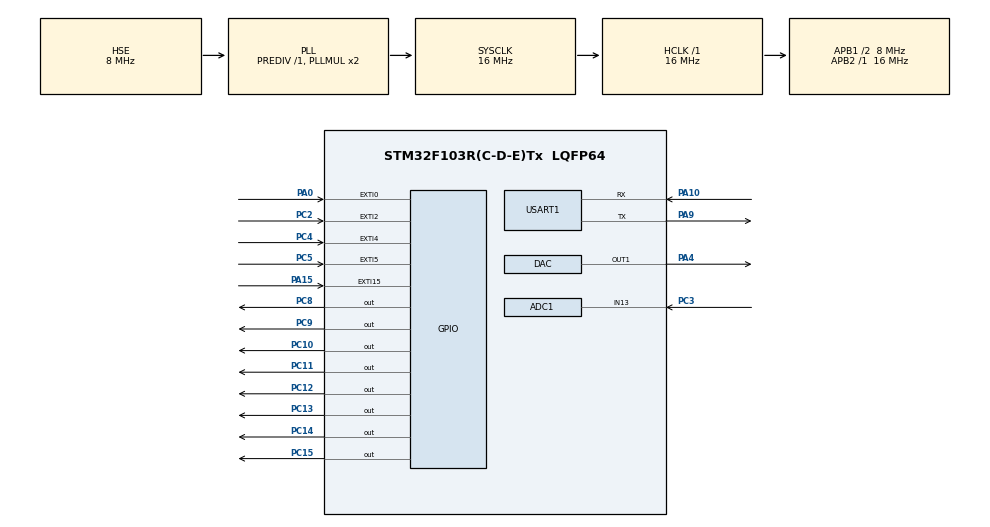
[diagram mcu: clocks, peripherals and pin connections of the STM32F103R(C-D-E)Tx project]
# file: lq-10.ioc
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ADC1.Channel-1\#ChannelRegularConversion=ADC_CHANNEL_13
ADC1.ContinuousConvMode=ENABLE
ADC1.NbrOfConversionFlag=1
ADC1.Rank-1\#ChannelRegularConversion=1
ADC1.SamplingTime-1\#ChannelRegularConversion=ADC_SAMPLETIME_1CYCLE_5
ADC1.master=1
Dma.ADC1.0.Direction=DMA_PERIPH_TO_MEMORY
Dma.ADC1.0.Instance=DMA1_Channel1
Dma.ADC1.0.MemDataAlignment=DMA_MDATAALIGN_HALFWORD
Dma.ADC1.0.MemInc=DMA_MINC_ENABLE
Dma.ADC1.0.Mode=DMA_NORMAL
Dma.ADC1.0.PeriphDataAlignment=DMA_PDATAALIGN_HALFWORD
Dma.ADC1.0.PeriphInc=DMA_PINC_DISABLE
Dma.ADC1.0.Priority=DMA_PRIORITY_LOW
Dma.Request0=ADC1
Mcu.Family=STM32F1
Mcu.Name=STM32F103R(C-D-E)Tx
Mcu.Package=LQFP64
NVIC.ADC1_2_IRQn=true\:2\:0\:true\:false\:true\:true\:true\:true
NVIC.DMA1_Channel1_IRQn=true\:0\:0\:false\:false\:true\:false\:true\:true
NVIC.EXTI0_IRQn=true\:3\:0\:true\:false\:true\:true\:true\:true
NVIC.EXTI15_10_IRQn=true\:3\:0\:true\:false\:true\:true\:true\:true
NVIC.EXTI2_IRQn=true\:3\:0\:true\:false\:true\:true\:true\:true
NVIC.EXTI4_IRQn=true\:1\:0\:true\:false\:true\:true\:true\:true
NVIC.EXTI9_5_IRQn=true\:3\:0\:true\:false\:true\:true\:true\:true
NVIC.PriorityGroup=NVIC_PRIORITYGROUP_4
NVIC.TIM3_IRQn=true\:2\:0\:true\:false\:true\:true\:true\:true
NVIC.USART1_IRQn=true\:0\:0\:false\:false\:true\:true\:true\:true
PA0-WKUP.GPIO_PuPd=GPIO_PULLDOWN
PA0-WKUP.Signal=GPXTI0
PA10.Mode=Asynchronous
PA10.Signal=USART1_RX
PA13.Mode=Serial_Wire
PA13.Signal=SYS_JTMS-SWDIO
PA14.Mode=Serial_Wire
PA14.Signal=SYS_JTCK-SWCLK
PA15.GPIO_ModeDefaultEXTI=GPIO_MODE_IT_FALLING
PA15.GPIO_PuPd=GPIO_PULLUP
PA15.Signal=GPXTI15
PA4.Signal=COMP_DAC1_group
PA9.Mode=Asynchronous
PA9.Signal=USART1_TX
PC10.GPIO_ModeDefaultOutputPP=GPIO_MODE_OUTPUT_PP
PC10.GPIO_PuPd=GPIO_NOPULL
PC10.GPIO_Speed=GPIO_SPEED_FREQ_HIGH
PC10.PinState=GPIO_PIN_SET
PC10.Signal=GPIO_Output
PC11.GPIO_ModeDefaultOutputPP=GPIO_MODE_OUTPUT_PP
PC11.GPIO_PuPd=GPIO_NOPULL
PC11.GPIO_Speed=GPIO_SPEED_FREQ_HIGH
PC11.PinState=GPIO_PIN_SET
PC11.Signal=GPIO_Output
PC12.GPIO_ModeDefaultOutputPP=GPIO_MODE_OUTPUT_PP
PC12.GPIO_PuPd=GPIO_NOPULL
PC12.GPIO_Speed=GPIO_SPEED_FREQ_HIGH
PC12.PinState=GPIO_PIN_SET
PC12.Signal=GPIO_Output
PC13-TAMPER-RTC.GPIO_ModeDefaultOutputPP=GPIO_MODE_OUTPUT_PP
PC13-TAMPER-RTC.GPIO_PuPd=GPIO_NOPULL
PC13-TAMPER-RTC.GPIO_Speed=GPIO_SPEED_FREQ_HIGH
PC13-TAMPER-RTC.PinState=GPIO_PIN_SET
PC13-TAMPER-RTC.Signal=GPIO_Output
PC14-OSC32_IN.GPIO_ModeDefaultOutputPP=GPIO_MODE_OUTPUT_PP
PC14-OSC32_IN.GPIO_PuPd=GPIO_NOPULL
PC14-OSC32_IN.GPIO_Speed=GPIO_SPEED_FREQ_HIGH
PC14-OSC32_IN.PinState=GPIO_PIN_SET
PC14-OSC32_IN.Signal=GPIO_Output
PC15-OSC32_OUT.GPIO_ModeDefaultOutputPP=GPIO_MODE_OUTPUT_PP
PC15-OSC32_OUT.GPIO_PuPd=GPIO_NOPULL
PC15-OSC32_OUT.GPIO_Speed=GPIO_SPEED_FREQ_HIGH
PC15-OSC32_OUT.PinState=GPIO_PIN_SET
PC15-OSC32_OUT.Signal=GPIO_Output
PC2.GPIO_ModeDefaultEXTI=GPIO_MODE_IT_FALLING
PC2.GPIO_PuPd=GPIO_PULLUP
PC2.Signal=GPXTI2
PC3.Signal=ADCx_IN13
PC4.GPIO_ModeDefaultEXTI=GPIO_MODE_IT_FALLING
PC4.GPIO_PuPd=GPIO_PULLUP
PC4.Signal=GPXTI4
PC5.GPIO_ModeDefaultEXTI=GPIO_MODE_IT_FALLING
PC5.GPIO_PuPd=GPIO_PULLUP
PC5.Signal=GPXTI5
PC8.GPIO_ModeDefaultOutputPP=GPIO_MODE_OUTPUT_PP
PC8.GPIO_PuPd=GPIO_NOPULL
PC8.GPIO_Speed=GPIO_SPEED_FREQ_HIGH
PC8.PinState=GPIO_PIN_SET
PC8.Signal=GPIO_Output
PC9.GPIO_ModeDefaultOutputPP=GPIO_MODE_OUTPUT_PP
PC9.GPIO_PuPd=GPIO_NOPULL
PC9.GPIO_Speed=GPIO_SPEED_FREQ_HIGH
PC9.PinState=GPIO_PIN_SET
PC9.Signal=GPIO_Output
PD0-OSC_IN.Mode=HSE-External-Oscillator
PD0-OSC_IN.Signal=RCC_OSC_IN
PD1-OSC_OUT.Mode=HSE-External-Oscillator
PD1-OSC_OUT.Signal=RCC_OSC_OUT
ProjectManager.HeapSize=0x200
ProjectManager.StackSize=0x400
ProjectManager.TargetToolchain=MDK-ARM V5
RCC.AHBFreq_Value=16000000
RCC.APB1CLKDivider=RCC_HCLK_DIV2
RCC.APB1Freq_Value=8000000
RCC.APB1TimFreq_Value=16000000
RCC.APB2Freq_Value=16000000
RCC.APB2TimFreq_Value=16000000
RCC.HCLKFreq_Value=16000000
RCC.PLLSourceVirtual=RCC_PLLSOURCE_HSE
RCC.SYSCLKFreq_VALUE=16000000
RCC.SYSCLKSource=RCC_SYSCLKSOURCE_PLLCLK
RCC.USBFreq_Value=16000000
SH.ADCx_IN13.0=ADC1_IN13,IN13
SH.COMP_DAC1_group.0=DAC_OUT1,DAC_OUT1
TIM3.AutoReloadPreload=TIM_AUTORELOAD_PRELOAD_ENABLE
TIM3.Period=1999
TIM3.Prescaler=7199
USART1.VirtualMode=VM_ASYNC
VP_TIM3_VS_ClockSourceINT.Mode=Internal
board=custom

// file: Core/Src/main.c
/* USER CODE BEGIN Header */
/**
  ******************************************************************************
  * @file           : main.c
  * @brief          : Main program body
  ******************************************************************************
  * @attention
  *
  * Copyright (c) 2023 STMicroelectronics.
  * All rights reserved.
  *
  * This software is licensed under terms that can be found in the LICENSE file
  * in the root directory of this software component.
  * If no LICENSE file comes with this software, it is provided AS-IS.
  *
  ******************************************************************************
  */
/* USER CODE END Header */
#include "main.h"
#include "adc.h"
#include "dac.h"
#include "dma.h"
#include "tim.h"
#include "usart.h"
#include "gpio.h"

/* USER CODE BEGIN Includes */

#include <stdbool.h>
#include <stdio.h>
#include <string.h>
#include "LCD/lcd.h"

/* USER CODE END Includes */

/* USER CODE BEGIN PD */

#define findPin(x) (uint16_t)((x + (x == 3)) << (4 * (x / 4) + 8))

/* USER CODE END PD */

/* USER CODE BEGIN PV */
volatile int8_t 		upper 		= 24;
volatile int8_t 		lower 		= 12;
uint8_t 	selection = 0;
uint32_t	adcBuf		= 0;
int8_t		upperl		= 1;
int8_t		lowerl		= 2;
char			buf[32]		= {0};
float			voltage		= 0;
bool 			bufLock		= false;
volatile bool	settings 	= false;
bool 			doRerender= false;

/* USER CODE END PV */

void SystemClock_Config(void);
/* USER CODE BEGIN PFP */

extern void delay_init(uint16_t);
void HAL_GPIO_EXTI_Callback(uint16_t);
//void HAL_ADC_ConvCpltCallback(ADC_HandleTypeDef *);
void HAL_TIM_PeriodElapsedCallback(TIM_HandleTypeDef *);
void rerender(void);
void setUpper(int8_t diff);
void setLower(int8_t diff);
void setUpperl(int8_t diff);
void setLowerl(int8_t diff);

/* USER CODE END PFP */

int main(void)
{

  /* MCU Configuration--------------------------------------------------------*/

  /* Reset of all peripherals, Initializes the Flash interface and the Systick. */
  HAL_Init();

  /* Configure the system clock */
  SystemClock_Config();

  /* Initialize all configured peripherals */
  MX_GPIO_Init();
  MX_DMA_Init();
  MX_ADC1_Init();
  MX_DAC_Init();
  MX_TIM3_Init();
  MX_USART1_UART_Init();
  /* USER CODE BEGIN 2 */

	HAL_GPIO_WritePin(GPIOA, GPIO_PIN_8, GPIO_PIN_SET);
	HAL_GPIO_WritePin(GPIOD, GPIO_PIN_2, GPIO_PIN_SET);
	HAL_GPIO_WritePin(GPIOC, GPIO_PIN_8, GPIO_PIN_SET);
	HAL_GPIO_WritePin(GPIOC, GPIO_PIN_9, GPIO_PIN_SET);
	HAL_GPIO_WritePin(GPIOC, GPIO_PIN_10, GPIO_PIN_SET);
	HAL_GPIO_WritePin(GPIOC, GPIO_PIN_11, GPIO_PIN_SET);
	HAL_GPIO_WritePin(GPIOC, GPIO_PIN_12, GPIO_PIN_SET);
	HAL_GPIO_WritePin(GPIOC, GPIO_PIN_13, GPIO_PIN_SET);
	HAL_GPIO_WritePin(GPIOC, GPIO_PIN_14, GPIO_PIN_SET);
	HAL_GPIO_WritePin(GPIOC, GPIO_PIN_15, GPIO_PIN_SET);

	/////////////////////////////////////////////////////////

	HAL_DAC_Start(&hdac, DAC_CHANNEL_1);
	HAL_DAC_SetValue(&hdac, DAC_CHANNEL_1, DAC_ALIGN_12B_R, 2048);

	/////////////////////////////////////////////////////////

	HAL_ADCEx_Calibration_Start(&hadc1);
	HAL_ADC_Start_DMA(&hadc1, &adcBuf, 1);

	HAL_TIM_Base_Start_IT(&htim3);

	delay_init(72);
	LCD_Init();
	BACK_COLOR = BLACK;
	POINT_COLOR = WHITE;
	rerender();

  /* USER CODE END 2 */

  /* Infinite loop */
  /* USER CODE BEGIN WHILE */
  while (1)
  {
		voltage = adcBuf * 33.0 / 0x1000;
		if(!settings && !bufLock) {
			memset(buf, 0, 32);
			sprintf(buf, "%.1fV", voltage / 10);
			if(!settings) LCD_ShowString(120, 120, 100, 20, 16, (uint8_t *)buf);

		}
		if(doRerender) {
			rerender();
			doRerender = false;
		}
		HAL_ADC_Start_DMA(&hadc1, &adcBuf, 1);
		HAL_Delay(50);
    /* USER CODE END WHILE */

  }
}

void SystemClock_Config(void)
{
  RCC_OscInitTypeDef RCC_OscInitStruct = {0};
  RCC_ClkInitTypeDef RCC_ClkInitStruct = {0};
  RCC_PeriphCLKInitTypeDef PeriphClkInit = {0};

  /** Initializes the RCC Oscillators according to the specified parameters
  * in the RCC_OscInitTypeDef structure.
  */
  RCC_OscInitStruct.OscillatorType = RCC_OSCILLATORTYPE_HSE;
  RCC_OscInitStruct.HSEState = RCC_HSE_ON;
  RCC_OscInitStruct.HSEPredivValue = RCC_HSE_PREDIV_DIV1;
  RCC_OscInitStruct.HSIState = RCC_HSI_ON;
  RCC_OscInitStruct.PLL.PLLState = RCC_PLL_ON;
  RCC_OscInitStruct.PLL.PLLSource = RCC_PLLSOURCE_HSE;
  RCC_OscInitStruct.PLL.PLLMUL = RCC_PLL_MUL2;
  if (HAL_RCC_OscConfig(&RCC_OscInitStruct) != HAL_OK)
  {
    Error_Handler();
  }

  /** Initializes the CPU, AHB and APB buses clocks
  */
  RCC_ClkInitStruct.ClockType = RCC_CLOCKTYPE_HCLK|RCC_CLOCKTYPE_SYSCLK
                              |RCC_CLOCKTYPE_PCLK1|RCC_CLOCKTYPE_PCLK2;
  RCC_ClkInitStruct.SYSCLKSource = RCC_SYSCLKSOURCE_PLLCLK;
  RCC_ClkInitStruct.AHBCLKDivider = RCC_SYSCLK_DIV1;
  RCC_ClkInitStruct.APB1CLKDivider = RCC_HCLK_DIV2;
  RCC_ClkInitStruct.APB2CLKDivider = RCC_HCLK_DIV1;

  if (HAL_RCC_ClockConfig(&RCC_ClkInitStruct, FLASH_LATENCY_0) != HAL_OK)
  {
    Error_Handler();
  }
  PeriphClkInit.PeriphClockSelection = RCC_PERIPHCLK_ADC;
  PeriphClkInit.AdcClockSelection = RCC_ADCPCLK2_DIV2;
  if (HAL_RCCEx_PeriphCLKConfig(&PeriphClkInit) != HAL_OK)
  {
    Error_Handler();
  }
}

/* USER CODE BEGIN 4 */

void HAL_GPIO_EXTI_Callback(uint16_t key) {
	switch(key) {
		case GPIO_PIN_4: //interface
			HAL_Delay(100);
			if(HAL_GPIO_ReadPin(GPIOC, GPIO_PIN_4) != GPIO_PIN_RESET) return;
			settings = !settings;
			if(settings) doRerender = true;
			else {
				rerender();
				HAL_TIM_PeriodElapsedCallback(&htim3);
			}
			break;
		case GPIO_PIN_0: //select
			if(!settings) return;
			HAL_Delay(100);
			if(HAL_GPIO_ReadPin(GPIOA, GPIO_PIN_0) != GPIO_PIN_SET) return;
			(selection == 3) ? (selection = 0) : (++selection);
			rerender();
			break;
		case GPIO_PIN_5: //+
			if(!settings) return;
			HAL_Delay(100);
			if(HAL_GPIO_ReadPin(GPIOC, GPIO_PIN_5) != GPIO_PIN_RESET) return;
			switch(selection) {
				case 0: setUpper(+3); break;
				case 1: setLower(+3); break;
				case 2: setUpperl(+1); break;
				case 3: setLowerl(+1); break;
			}
			break;
		case GPIO_PIN_15://-
			if(!settings) return;
			HAL_Delay(100);
			if(HAL_GPIO_ReadPin(GPIOA, GPIO_PIN_15) != GPIO_PIN_RESET) return;
			switch(selection) {
				case 0: setUpper(-3); break;
				case 1: setLower(-3); break;
				case 2: setUpperl(-1); break;
				case 3: setLowerl(-1); break;
			}
			break;
	}
}

//void HAL_ADC_ConvCpltCallback(ADC_HandleTypeDef *hadc) {

	//HAL_GPIO_WritePin(GPIOC, findPin(upperl), voltage <= upper);
	//HAL_GPIO_WritePin(GPIOC, findPin(lowerl), voltage >= lower);

//}

void HAL_TIM_PeriodElapsedCallback(TIM_HandleTypeDef *htim) {
	if(htim->Instance != TIM3) return;
	if(voltage > upper) {
		if(!settings) {LCD_ShowString(120, 140, 100, 20, 16, (uint8_t *)"Upper    ");}
		HAL_GPIO_TogglePin(GPIOC, findPin(upperl));
		//HAL_GPIO_WritePin(GPIOD, GPIO_PIN_2, GPIO_PIN_RESET);
	}
	else HAL_GPIO_WritePin(GPIOC, findPin(upperl), GPIO_PIN_SET);
	if(voltage < lower) {
		HAL_GPIO_TogglePin(GPIOC, findPin(lowerl));
		//HAL_GPIO_WritePin(GPIOA, GPIO_PIN_8, GPIO_PIN_RESET);
		if(!settings) {LCD_ShowString(120, 140, 100, 20, 16, (uint8_t *)"Lower    ");}
	}
	else {HAL_GPIO_WritePin(GPIOC, findPin(lowerl), GPIO_PIN_SET);}
	if(!settings && voltage <= upper && voltage >= lower) LCD_ShowString(120, 140, 100, 20, 16, (uint8_t *)"Normal  ");
	//LCD_ShowNum(20, 200, voltage, 6, 16);
}

inline void setUpper(int8_t diff) {
	if(upper + diff > 33 || upper + diff < lower) return;
	upper += diff;
	BACK_COLOR = WHITE;
	POINT_COLOR= BLACK;
	bufLock = true;
	memset(buf, 0, 32);
	sprintf(buf, "Max Volt: %.1fV", upper / 10.0);
	LCD_ShowString( 50, 120, 200, 20, 16, (uint8_t *)buf);
	memset(buf, 0, 32);
	bufLock = false;
	BACK_COLOR = BLACK;
	POINT_COLOR= WHITE;
}

inline void setLower(int8_t diff) {
	if(lower + diff < 0 || lower + diff > upper) return;
	lower += diff;
	BACK_COLOR = WHITE;
	POINT_COLOR= BLACK;
	bufLock = true;
	memset(buf, 0, 32);
	sprintf(buf, "Min Volt: %.1fV", lower / 10.0);
	LCD_ShowString( 50, 140, 200, 20, 16, (uint8_t *)buf);
	memset(buf, 0, 32);
	bufLock = false;
	BACK_COLOR = BLACK;
	POINT_COLOR= WHITE;
}

inline void setUpperl(int8_t diff) {
	HAL_GPIO_WritePin(GPIOC, findPin(upperl), GPIO_PIN_SET);
	upperl += diff;
	if(upperl == 9) upperl = 1;
	if(upperl == 0) upperl = 8;
	if(upperl == lowerl) setUpperl(diff);
	BACK_COLOR = WHITE;
	POINT_COLOR= BLACK;
	bufLock = true;
	memset(buf, 0, 32);
	sprintf(buf, "Upper: LD%d", upperl);
	LCD_ShowString( 50, 160, 200, 20, 16, (uint8_t *)buf);
	memset(buf, 0, 32);
	bufLock = false;
	BACK_COLOR = BLACK;
	POINT_COLOR= WHITE;
}

inline void setLowerl(int8_t diff) {
	HAL_GPIO_WritePin(GPIOC, findPin(lowerl), GPIO_PIN_SET);
	lowerl += diff;
	if(lowerl == 9) lowerl = 1;
	if(lowerl == 0) lowerl = 8;
	if(lowerl == upperl) setLowerl(diff);
	BACK_COLOR = WHITE;
	POINT_COLOR= BLACK;
	bufLock = true;
	memset(buf, 0, 32);
	sprintf(buf, "lower: LD%d", lowerl);
	LCD_ShowString( 50, 180, 200, 20, 16, (uint8_t *)buf);
	memset(buf, 0, 32);
	bufLock = false;
	BACK_COLOR = BLACK;
	POINT_COLOR= WHITE;
}

inline void rerender(void) {
	LCD_Clear(BLACK);
	if(settings) {
		uint8_t i = 0;
		LCD_ShowString(100, 100, 250, 20, 16, (uint8_t *)"Setting");
		BACK_COLOR = (i == selection) ? WHITE : BLACK;
		POINT_COLOR = (i++ != selection) ? WHITE : BLACK;
		bufLock = true;
		memset(buf, 0, 32);
		sprintf(buf, "Max Volt: %.1fV", upper / 10.0);
		LCD_ShowString( 50, 120, 250, 20, 16, (uint8_t *)buf);
		BACK_COLOR = (i == selection) ? WHITE : BLACK;
		POINT_COLOR = (i++ != selection) ? WHITE : BLACK;
		memset(buf, 0, 32);
		sprintf(buf, "Min Volt: %.1fV", lower / 10.0);
		LCD_ShowString( 50, 140, 250, 20, 16, (uint8_t *)buf);
		BACK_COLOR = (i == selection) ? WHITE : BLACK;
		POINT_COLOR = (i++ != selection) ? WHITE : BLACK;
		memset(buf, 0, 32);
		sprintf(buf, "Upper: LD%d", upperl);
		LCD_ShowString( 50, 160, 250, 20, 16, (uint8_t *)buf);
		BACK_COLOR = (i == selection) ? WHITE : BLACK;
		POINT_COLOR = (i++ != selection) ? WHITE : BLACK;
		memset(buf, 0, 32);
		sprintf(buf, "Lower: LD%d", lowerl);
		LCD_ShowString( 50, 180, 250, 20, 16, (uint8_t *)buf);
		bufLock = false;
		BACK_COLOR = BLACK;
		POINT_COLOR = WHITE;
		memset(buf, 0, 32);
		return;
	}
	LCD_ShowString(100, 100, 100, 20, 16, (uint8_t *)"Main");
	LCD_ShowString( 50, 120, 100, 20, 16, (uint8_t *)"Volt:");
	LCD_ShowString( 50, 140, 100, 20, 16, (uint8_t *)"Status:");
	//Data will be updated by ADC and TIM3
}

/* USER CODE END 4 */

void Error_Handler(void)
{
  __disable_irq();
  while (1)
  {
  }
}
